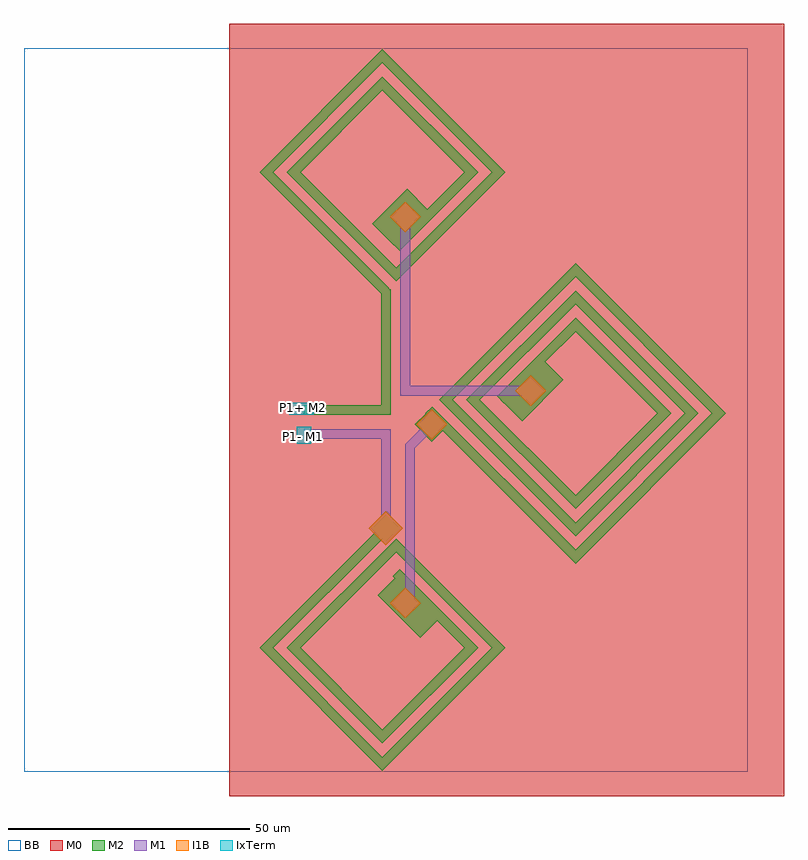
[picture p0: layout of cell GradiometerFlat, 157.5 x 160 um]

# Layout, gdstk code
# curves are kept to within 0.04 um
import gdstk
lib = gdstk.Library(unit=1e-6, precision=1e-09)
def R(c, l, rs):  # rectangles x0, y0, x1, y1
    for r in rs: c.add(gdstk.rectangle(r[:2], r[2:], *l))
def P(c, l, *ps):  # polygons
    for p in ps: c.add(gdstk.Polygon(p, *l))
M1 = (1, 0)
BB = (1, 3)
I1B = (3, 0)
M2 = (6, 0)
M0 = (30, 0)
IxTerm = (63, 0)

gradiometerflat = lib.new_cell('GradiometerFlat')
P(gradiometerflat, M1, [(4,-42.828),(1.172,-40),(4,-37.172),(4,-7.086),(7.379,-3.707),(6.672,-3),(9.5,-0.172),(12.328,-3),(9.5,-5.828),(8.793,-5.121),(6,-7.914),(6,-39.172),(6.828,-40),(6,-40.828),(6,-41),(5.828,-41)],
  [(0,-27.682),(-3.182,-24.5),(-1,-22.318),(-1,-6),(-17,-6),(-17,-4),(1,-4),(1,-22.318),(3.182,-24.5)],
  [(30,1.172),(28.172,3),(3,3),(3,38.172),(1.172,40),(4,42.828),(6.828,40),(5,38.172),(5,5),(28.172,5),(30,6.828),(32.828,4)])
R(gradiometerflat, BB, [(-75,-75,75,75)])
P(gradiometerflat, I1B, [(0,-28.036),(-3.536,-24.5),(0,-20.964),(3.536,-24.5)],
  [(4,-43.182),(0.818,-40),(4,-36.818),(7.182,-40)],
  [(9.5,-6.182),(6.318,-3),(9.5,0.182),(12.682,-3)],
  [(4,36.818),(0.818,40),(4,43.182),(7.182,40)],
  [(30,0.818),(26.818,4),(30,7.182),(33.182,4)])
P(gradiometerflat, M2, [(-0.707,-74.749),(-26.163,-49.293),(-2.099,-25.229),(-2.828,-24.5),(0,-21.672),(2.828,-24.5),(0,-27.328),(-0.685,-26.643),(-23.335,-49.293),(-0.707,-71.921),(21.921,-49.293),(2.121,-29.494),(-17.678,-49.293),(-0.707,-66.264),(16.264,-49.293),(10.649,-43.679),(7.146,-47.182),(-1.682,-38.354),(1.821,-34.851),(1.414,-34.444),(2.828,-33.03),(19.092,-49.293),(-0.707,-69.092),(-20.506,-49.293),(2.121,-26.666),(24.749,-49.293)],
  [(39.293,-31.82),(11.754,-4.282),(9.5,-6.536),(5.964,-3),(9.594,0.707),(39.293,-28.992),(67.577,-0.707),(39.293,27.577),(13.837,2.121),(39.293,-23.335),(61.921,-0.707),(39.293,21.921),(19.494,2.121),(39.293,-17.678),(56.264,-0.707),(39.293,16.264),(33.05,10.021),(36.803,6.268),(28.232,-2.303),(23.03,2.828),(39.293,19.092),(59.092,-0.707),(39.293,-20.506),(16.666,2.121),(39.293,24.749),(64.749,-0.707),(39.293,-26.163),(11.009,2.121),(39.293,30.405),(70.405,-0.707)],
  [(-17,-1),(-17,1),(-1,1),(-1,24.13),(-26.163,49.293),(-0.707,74.749),(24.749,49.293),(2.121,26.666),(-20.506,49.293),(-0.707,69.092),(19.092,49.293),(2.828,33.03),(1.636,34.222),(1.586,34.172),(-2.828,38.586),(4.414,45.828),(8.606,41.636),(16.264,49.293),(-0.707,66.264),(-17.678,49.293),(2.121,29.494),(21.921,49.293),(-0.707,71.921),(-23.335,49.293),(0.707,25.251),(0.456,25),(1,25),(1,-1)])
R(gradiometerflat, M0, [(-32.5,-80,82.5,80)])
R(gradiometerflat, IxTerm, [(-18.5,-7,-15.5,-3.5), (-20,-1,-15,1.5)])
gradiometerflat.add(gdstk.Label('P1- M1', (-17,-5.5), layer=64, texttype=0))
gradiometerflat.add(gdstk.Label('P1+ M2', (-17,0.5), layer=64, texttype=0))

lib.write_gds('GradiometerFlat.gds')
